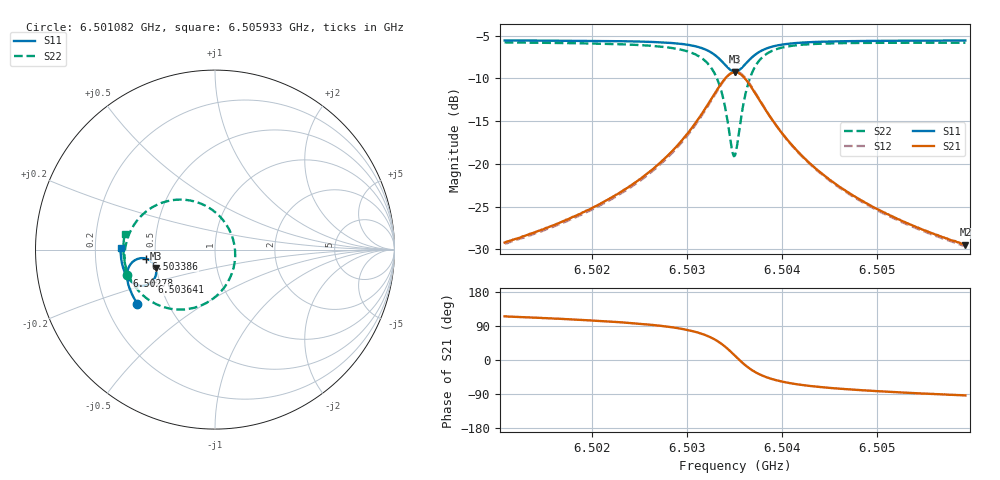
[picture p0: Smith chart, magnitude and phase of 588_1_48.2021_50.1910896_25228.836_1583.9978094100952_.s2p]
#  HZ  S  RI  R  50.00
! Rohde & Schwarz Vector Network Analyzer
! Rohde-Schwarz,ZNB20-2Port,1311601062101988,3.16
! Created: UTC 3/20/2024, 12:02:22 PM
! freq[Hz]  re:S11  im:S11  re:S21  im:S21  re:S12  im:S12  re:S22  im:S22
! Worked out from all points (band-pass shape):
!   401 points, 6.501082 GHz to 6.505933 GHz, reference 50 ohm
!   highest |S21| = -9.28 dB at 6.503507 GHz (marker M1); lowest = -29.5 dB at 6.505933 GHz (marker M2)
!   |S21| within 3 dB of the highest: 6.503265 GHz to 6.50375 GHz (485.1 kHz wide, 0.00746 % of centre)
!   lowest |S11| = -9.2 dB at 6.503507 GHz (marker M3), VSWR 2.06, Z = 24.7 - j5.72 ohm
!   |S11| at or under -10 dB: nowhere
!   |S22| runs from -19.1 to -5.8 dB; largest |S21 - S12| = 0.012
!   S11 on the Smith chart (normalised r, x): 6.501082 GHz: 0.34, -0.28; 6.50278 GHz: 0.33, -0.13; 6.503386 GHz: 0.44, -0.05; 6.503641 GHz: 0.45, -0.19; 6.505933 GHz: 0.31, +0.01
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6.5010817e9  -0.4322 -0.3015  -0.0148 0.0313  -0.013 0.0314  -0.4927 -0.144
6.5018944e9  -0.4663 -0.2402  -0.014 0.0498  -0.0116 0.0492  -0.5038 -0.0556
6.5023552e9  -0.4819 -0.1982  -0.0106 0.0705  -0.00757 0.0693  -0.4993 0.0122
6.502707e9  -0.4895 -0.158  -0.00125 0.1001  0.00239 0.0978  -0.4784 0.086
6.5027797e9  -0.4901 -0.148  0.0028 0.109  0.00652 0.1063  -0.4696 0.1055
6.5029859e9  -0.4862 -0.1145  0.0246 0.1432  0.0281 0.139  -0.4246 0.1732
6.5031436e9  -0.4712 -0.0823  0.0644 0.1796  0.067 0.1739  -0.3471 0.2371
6.5032891e9  -0.4328 -0.0524  0.1471 0.2087  0.1477 0.2026  -0.1966 0.2785
6.5033376e9  -0.4113 -0.0475  0.1901 0.2073  0.1902 0.2019  -0.1212 0.2699
6.5033861e9  -0.3856 -0.0498  0.2398 0.192  0.2398 0.1876  -0.0362 0.235
6.503471e9  -0.342 -0.0795  0.3191 0.1165  0.3217 0.1124  0.0906 0.0863
6.5035074e9  -0.331 -0.1019  0.3369 0.0669  0.3409 0.0618  0.112 -0.00656
6.5035317e9  -0.3278 -0.1185  0.3406 0.0317  0.3449 0.0254  0.1096 -0.0709
6.5035681e9  -0.33 -0.143  0.3331 -0.0192  0.3371 -0.0279  0.0818 -0.1614
6.5036408e9  -0.3526 -0.1808  0.2856 -0.0968  0.286 -0.1084  -0.0298 -0.2864
6.50375e9  -0.3989 -0.2013  0.1972 -0.1428  0.192 -0.1526  -0.209 -0.3339
6.5039077e9  -0.4469 -0.192  0.112 -0.1387  0.1049 -0.144  -0.3621 -0.2847
6.5040775e9  -0.4748 -0.1706  0.0657 -0.1172  0.0596 -0.1196  -0.4367 -0.2171
6.50432e9  -0.4961 -0.1407  0.0349 -0.0915  0.03 -0.0921  -0.4811 -0.1432
6.5046839e9  -0.5118 -0.1017  0.0155 -0.0671  0.012 -0.067  -0.5042 -0.067
6.5051326e9  -0.5212 -0.0595  0.00524 -0.05  0.00294 -0.0493  -0.5107 -0.00141
6.5059331e9  -0.5264 0.00895  -0.00206 -0.0336  -0.00331 -0.0329  -0.5035 0.0857
